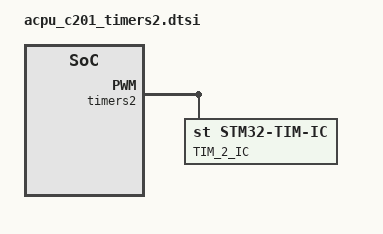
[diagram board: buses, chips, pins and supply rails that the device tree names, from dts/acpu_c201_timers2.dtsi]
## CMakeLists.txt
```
# SPDX-License-Identifier: Apache-2.0

# From application_development/out_of_tree_driver example:

# For the sake of demonstration, we add the driver directory as a zephyr module
# by hand. If your driver is a project that's managed by west, you can remove this line.

list(APPEND ZEPHYR_EXTRA_MODULES ${CMAKE_CURRENT_SOURCE_DIR}/modules)

cmake_minimum_required(VERSION 3.13.1)

set(PROJ_ROOT ${CMAKE_CURRENT_SOURCE_DIR}/)
set(DTS_ROOT ${CMAKE_CURRENT_SOURCE_DIR}/dts)

#set(DTC_OVERLAY_FILE "boards/stm32g473_acme_cpu_c201.overlay application/ui_ux/ui_menu.config")

set(BOARD_ROOT ${CMAKE_CURRENT_LIST_DIR})
set(BOARD stm32g474re_disco)

find_package(Zephyr HINTS $ENV{ZEPHYR_BASE})
project(input_capture)

FILE(GLOB app_sources src/*.c)
target_sources(app PRIVATE ${app_sources})
```

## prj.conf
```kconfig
CONFIG_MAIN_STACK_SIZE=2048
CONFIG_HEAP_MEM_POOL_SIZE=4096
CONFIG_IDLE_STACK_SIZE=1024

CONFIG_DEBUG=y
CONFIG_DEBUG_OPTIMIZATIONS=y

#CONFIG_OPENOCD_SUPPORT=y

#CONFIG_CODING_GUIDELINE_CHECK=y

CONFIG_LOG=y

CONFIG_PRINTK=y

# Add this section to the prj.conf file
# Currently ther is a half way through implementation of a 
# TIM Input Capture callback function in the bsp_fan.c file
# which utilizes a ring buffer. Might not need this in the future
# (DMA would do the work better)

CONFIG_RING_BUFFER=y
```

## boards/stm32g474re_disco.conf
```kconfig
CONFIG_PWM=y
CONFIG_PWM_CAPTURE=y
CONFIG_TIM_IC=y
CONFIG_TIM_IC_STM32=y

CONFIG_BSP_GPIO_DRIVER=y

CONFIG_SHELL=y

CONFIG_CONSOLE=y
CONFIG_SERIAL=y
CONFIG_STDOUT_CONSOLE=y
CONFIG_UART_INTERRUPT_DRIVEN=y
CONFIG_UART_LINE_CTRL=y
CONFIG_UART_CONSOLE=y
CONFIG_UART_CONSOLE_INIT_PRIORITY=60
```

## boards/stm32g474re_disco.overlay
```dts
/*
 * Copyright (c) 2020 Volodymyr Sirous
 *
 * SPDX-License-Identifier: Apache-2.0
 */
```

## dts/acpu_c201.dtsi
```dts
/*
 * Copyright (c) 2020 Volodymyr Sirous
 *
 * SPDX-License-Identifier: Apache-2.0
 */


/{ c201: acpu-c201-board {

   };
 };

#include <gpio_dt_defines.dtsi>

#include <stm32g474re_disco_usart3.dtsi>

#include <acpu_c201_timers2.dtsi>
#include <acpu_c201_timers20.dtsi>
#include <acpu_c201_blower.dtsi>
#include <stm32g473re_disco_joystick.dtsi>
```

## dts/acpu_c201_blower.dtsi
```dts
/*
 * Copyright (c) 2020 Volodymyr Sirous
 *
 * SPDX-License-Identifier: Apache-2.0
 */


&c201 { 

   sys_fan {
    compatible = "bsp-fan";
    status = "okay";
    pwms =  <&tim_2_pwm 2 65536 PWM_POLARITY_NORMAL>, 	/* period in number of cycles */
            <&tim_2_ic 1 65536 (1 << 3)>;				/* period in number of cycles */
    pwm-names = "speed-ctrl",
                "speed-feedback";
    label = "SYS FAN";
   };
};
```

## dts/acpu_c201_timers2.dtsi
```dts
/*
 * Copyright (c) 2020 Volodymyr Sirous
 *
 * SPDX-License-Identifier: Apache-2.0
 */


&timers2 {
  status = "okay";
  tim_2_pwm: pwm {
    status = "okay";
    pinctrl-0 = <&tim2_ch2_pa1>;
    st,prescaler = <25>;			/* Timer input clk = 170MHz, output clk = 170MHz/42500 = 4000kHz */
    #pwm-cells = <3>;
  };

  tim_2_ic: input-capture {
    compatible = "st,stm32-tim-ic";
    status = "okay";
    label = "TIM_2_IC";
    pinctrl-0 = <&tim2_ch1_pa15 &tim2_ch3_pb10>;
    st,prescaler = <25>;			/* Timer input clk = 170MHz, output clk = 170MHz/42500 = 4000kHz */
    #pwm-cells = <3>;
  };
};
```

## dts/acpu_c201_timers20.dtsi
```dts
/*
 * Copyright (c) 2021 Acme CPU
 *
 * SPDX-License-Identifier: Apache-2.0
 */


&timers20 {
  status = "okay";
  pwm20: pwm {
    status = "okay";
    pinctrl-0 = <&tim20_ch1_pb2>;
    st,prescaler = <50>;
    #pwm-cells = <3>;
  };
};
```

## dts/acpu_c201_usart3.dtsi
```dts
/*
 * Copyright (c) 2020 Volodymyr Sirous
 *
 * SPDX-License-Identifier: Apache-2.0
 */


&usart3 {
    status = "okay";
    pinctrl-0 = <&usart3_rx_pb11 &usart3_tx_pc10 &usart3_rts_pb14 &usart3_cts_pb13>;
    current-speed = <115200>;
};
```

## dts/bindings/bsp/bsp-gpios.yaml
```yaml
# Copyright (c) 2020, Volodymyr Sirous
# SPDX-License-Identifier: Apache-2.0

description: General representation of GPIO signals

compatible: "bsp-gpios"

child-binding:
    description: GPIO Port's Pin node
    properties:
       gpios:
          type: phandle-array
          required: true
       label:
          required: true
          type: string
          description: Human readable string describing the signal (used as device_get_binding() argument)
```

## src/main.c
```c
#include <zephyr.h>
#include <device.h>
#include <sys/printk.h>
#include <sys/__assert.h>
#include <stdio.h>
#include <drivers/gpio.h>
#include <drivers/pwm.h>

#include "bsp_fan.h"

/* JOYSTICK SELECT BUTTON - Label, Pin and Flags */
#define LABEL_JOYSEL		DT_GPIO_LABEL(DT_NODELABEL(joysel), gpios)
#define PIN_JOYSEL			DT_GPIO_PIN(DT_NODELABEL(joysel), gpios)
#define FLAGS_JOYSEL		(GPIO_INPUT | DT_GPIO_FLAGS(DT_NODELABEL(joysel), gpios))

/* JOYSTICK LEFT BUTTON - Label, Pin and Flags */
#define LABEL_JOYLEFT		DT_GPIO_LABEL(DT_NODELABEL(joyleft), gpios)
#define PIN_JOYLEFT			DT_GPIO_PIN(DT_NODELABEL(joyleft), gpios)
#define FLAGS_JOYLEFT		(GPIO_INPUT | DT_GPIO_FLAGS(DT_NODELABEL(joyleft), gpios))

/* JOYSTICK DOWN BUTTON - Label, Pin and Flags */
#define LABEL_JOYDOWN		DT_GPIO_LABEL(DT_NODELABEL(joydown), gpios)
#define PIN_JOYDOWN			DT_GPIO_PIN(DT_NODELABEL(joydown), gpios)
#define FLAGS_JOYDOWN		(GPIO_INPUT | DT_GPIO_FLAGS(DT_NODELABEL(joydown), gpios))

/* JOYSTICK RIGHT BUTTON - Label, Pin and Flags */
#define LABEL_JOYRIGHT		DT_GPIO_LABEL(DT_NODELABEL(joyright), gpios)
#define PIN_JOYRIGHT		DT_GPIO_PIN(DT_NODELABEL(joyright), gpios)
#define FLAGS_JOYRIGHT		(GPIO_INPUT | DT_GPIO_FLAGS(DT_NODELABEL(joyright), gpios))

/* Buzzer related */
#define LABEL_PWM_BUZZ				"PWM_20"
#define CHANNEL_PWM_BUZZ			1
#define FLAGS_PWM_BUZZ				(PWM_POLARITY_NORMAL)

static volatile int cc_toggle = -1;
static uint32_t pwm_period = ((1*1000*1000)/100);	// Start with 100 usec
static bool change_pwm_val = true;

static const struct device* initialize_device(char *label) {
	const struct device *dev;
	dev = device_get_binding(label);
	if (!dev) {
		printk("Device driver not found.\n");
		return NULL;
	} else {
		printk("device %s found\n", label);
	}
	return dev;
}

static int change_pwm_usec() {
	/* Initialize Buzzer PWM */
	const struct device *dev_buzz = initialize_device(LABEL_PWM_BUZZ);
	pwm_period = (pwm_period / 2);
	int ret = pwm_pin_set_usec(dev_buzz, CHANNEL_PWM_BUZZ, pwm_period, pwm_period / 2U, FLAGS_PWM_BUZZ);
	if (ret != 0) {
		printk("pwm_pin_set_usec failed, %d\n", ret);
		return -1;
	}
	return pwm_period;
}

void joystick_pressed(const struct device *dev, struct gpio_callback *cb, uint32_t pins) {
	if (pins == BIT(PIN_JOYSEL)) {
		printk("Joystick Select pressed at %" PRIu32 "\n", k_cycle_get_32());
		change_pwm_val = true;
	} else if (pins == BIT(PIN_JOYLEFT)) {
		printk("Joystick Left pressed at %" PRIu32 "\n", k_cycle_get_32());
		cc_toggle = 0;
	} else if (pins == BIT(PIN_JOYDOWN)) {
		printk("Joystick Down pressed at %" PRIu32 "\n", k_cycle_get_32());
		cc_toggle = 1;
	}
}

static const struct device* initialize_button(char *label, int pin, int flags, struct gpio_callback *cb_data,
		gpio_callback_handler_t cb) {
	const struct device *button;
	int ret;

	button = device_get_binding(label);
	if (button == NULL) {
		printk("Error: didn't find %s device\n", label);
		return NULL;
	}

	ret = gpio_pin_configure(button, pin, flags);
	if (ret != 0) {
		printk("Error %d: failed to configure %s pin %d\n", ret, label, pin);
		return NULL;
	}

	ret = gpio_pin_interrupt_configure(button, pin, GPIO_INT_EDGE_TO_ACTIVE);
	if (ret != 0) {
		printk("Error %d: failed to configure interrupt on %s pin %d\n", ret, label, pin);
		return NULL;
	}

	if (cb != NULL) {
		gpio_init_callback(cb_data, cb, BIT(pin));
		gpio_add_callback(button, cb_data);
	}

	printk("Set up button at %s pin %d\n", label, pin);

	return button;
}

void main(void) {
	printk("*** Starting app ....\n\n");

	struct gpio_callback joyleft_cb_data;
	initialize_button(LABEL_JOYLEFT, PIN_JOYLEFT, FLAGS_JOYLEFT, &joyleft_cb_data, joystick_pressed);

	struct gpio_callback joydown_cb_data;
	initialize_button(LABEL_JOYDOWN, PIN_JOYDOWN, FLAGS_JOYDOWN, &joydown_cb_data, joystick_pressed);

	struct gpio_callback joyselect_cb_data;
	initialize_button(LABEL_JOYSEL, PIN_JOYSEL, FLAGS_JOYSEL, &joyselect_cb_data, joystick_pressed);

#if 0
	/* Initialize Buzzer PWM */
	const struct device *dev_buzz = initialize_device(LABEL_PWM_BUZZ);
	int ret = pwm_pin_set_usec(dev_buzz, CHANNEL_PWM_BUZZ, pwm_period, pwm_period / 2U, FLAGS_PWM_BUZZ);
	if (ret != 0) {
		printk("pwm_pin_set_usec failed!\n");
	}
#endif

	const struct device *bsp_fan = device_get_binding("SYS FAN");
	struct bsp_fan_api *fan_api = (struct bsp_fan_api*) bsp_fan->api;

	const struct device *tim_ic_2 = device_get_binding("TIM_2_IC");
//#define NUM_VAL	2
//	uint32_t capture_val[NUM_VAL]={0};

//	k_sleep(K_MSEC(1000));

	while (1) {
//		for (int i=0; i<NUM_VAL; i++)
//			fan_api->ic_val_get(&capture_val[i]);
//		for (int i=0; i<NUM_VAL; i++)
//			printf("%d,", capture_val[i]);

		if (cc_toggle == 0) {
			cc_toggle = -1;
			pwm_pin_disable_capture(tim_ic_2, 1);
		} else if (cc_toggle == 1) {
			cc_toggle = -1;
			pwm_pin_enable_capture(tim_ic_2, 1);
		}

		if (change_pwm_val) {
			change_pwm_val = false;
			pwm_pin_disable_capture(tim_ic_2, 1);
			change_pwm_usec();
			pwm_pin_enable_capture(tim_ic_2, 1);
		}

		uint32_t fan_freq = fan_api->fan_freq_get(bsp_fan);
		printf("%d\n", fan_freq);

		k_sleep(K_MSEC(500));
	}
}
```
